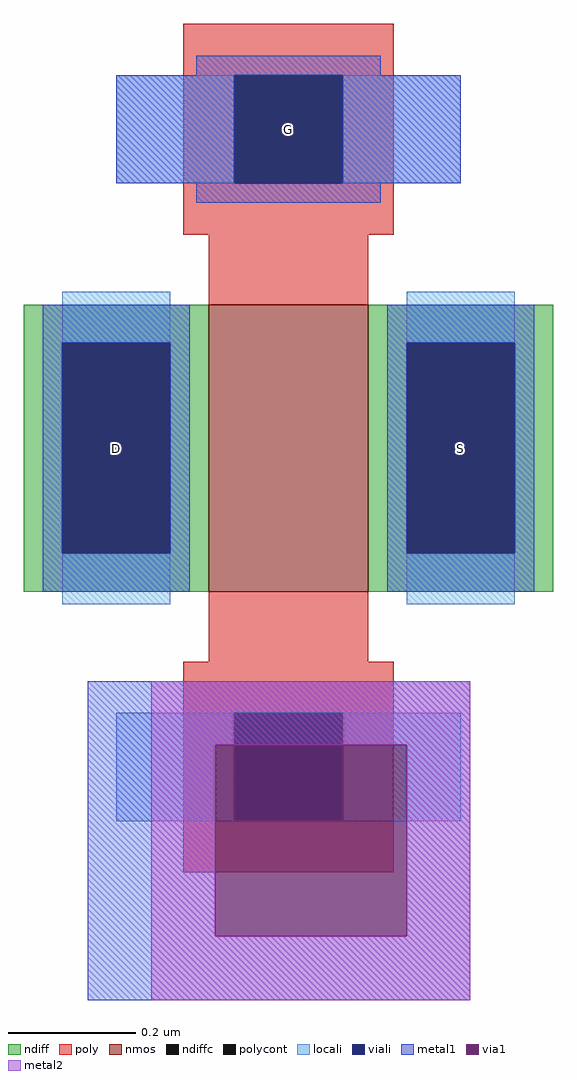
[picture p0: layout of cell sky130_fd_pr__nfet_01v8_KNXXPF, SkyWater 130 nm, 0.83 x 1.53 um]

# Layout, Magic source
magic
tech sky130A
magscale 1 2
<< nmos >>
rect -25 -45 25 45
<< ndiff >>
rect -83 33 -25 45
rect -83 -33 -71 33
rect -37 -33 -25 33
rect -83 -45 -25 -33
rect 25 33 83 45
rect 25 -33 37 33
rect 71 -33 83 33
rect 25 -45 83 -33
<< ndiffc >>
rect -71 -33 -37 33
rect 37 -33 71 33
<< poly >>
rect -33 117 33 133
rect -33 83 -17 117
rect 17 83 33 117
rect -33 67 33 83
rect -25 45 25 67
rect -25 -67 25 -45
rect -33 -83 33 -67
rect -33 -117 -17 -83
rect 17 -117 33 -83
rect -33 -133 33 -117
<< polycont >>
rect -17 83 17 117
rect -17 -117 17 -83
<< locali >>
rect -54 83 -17 117
rect 17 83 54 117
rect -71 33 -37 49
rect -71 -49 -37 -33
rect 37 33 71 49
rect 37 -49 71 -33
rect -54 -117 -17 -83
rect 17 -117 54 -83
<< viali >>
rect -17 83 17 117
rect -71 -33 -37 33
rect 37 -33 71 33
rect -17 -117 17 -83
<< metal1 >>
rect -29 117 29 123
rect -54 83 -17 117
rect 17 83 54 117
rect -29 77 29 83
rect -77 33 -31 45
rect -77 -33 -71 33
rect -37 -33 -31 33
rect -77 -45 -31 -33
rect 31 33 77 45
rect 31 -33 37 33
rect 71 -33 77 33
rect 31 -45 77 -33
rect -63 -83 57 -73
rect -63 -93 -17 -83
rect 17 -93 57 -83
rect -63 -153 -23 -93
rect 37 -153 57 -93
rect -63 -173 57 -153
<< via1 >>
rect -23 -117 -17 -93
rect -17 -117 17 -93
rect 17 -117 37 -93
rect -23 -153 37 -117
<< metal2 >>
rect -43 -93 57 -73
rect -43 -153 -23 -93
rect 37 -153 57 -93
rect -43 -173 57 -153
<< labels >>
rlabel ndiffc -54 0 -54 0 0 D
port 1 nsew
rlabel ndiffc 54 0 54 0 0 S
port 2 nsew
rlabel polycont 0 100 0 100 0 G
port 3 nsew
<< properties >>
string gencell sky130_fd_pr__nfet_01v8
string library sky130
string parameters w 0.450 l 0.250 m 1 nf 1 diffcov 100 polycov 100 guard 0 glc 1 grc 1 gtc 1 gbc 1 tbcov 100 rlcov 100 topc 1 botc 1 poverlap 0 doverlap 1 lmin 0.15 wmin 0.42 class mosfet compatible {sky130_fd_pr__nfet_01v8 sky130_fd_pr__nfet_01v8_lvt  sky130_fd_bs_flash__special_sonosfet_star  sky130_fd_pr__nfet_g5v0d10v5 sky130_fd_pr__nfet_05v0_nvt  sky130_fd_pr__nfet_03v3_nvt} full_metal 1 conn_gates 1 viasrc 100 viadrn 100 viagate 100 viagb 0 viagr 0 viagl 0 viagt 0 doports 1
<< end >>
